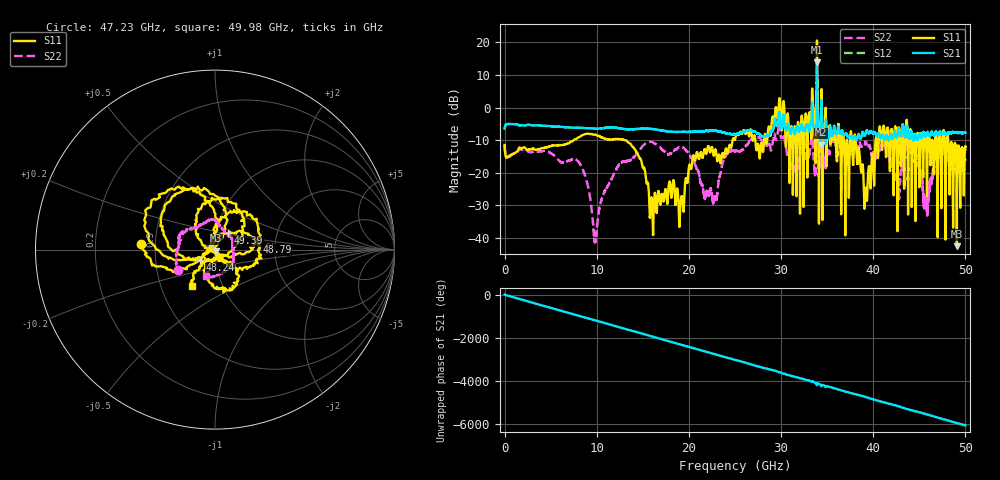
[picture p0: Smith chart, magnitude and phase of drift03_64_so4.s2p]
!Created with skrf (http://scikit-rf.org).
# Hz S RI R 50.0
!freq ReS11 ImS11 ReS21 ImS21 ReS12 ImS12 ReS22 ImS22
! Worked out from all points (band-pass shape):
!   10001 points, 300 kHz to 50 GHz, reference 50 ohm
!   highest |S21| = 13.90 dB at 33.9 GHz (marker M1); lowest = -11.4 dB at 34.32 GHz (marker M2)
!   |S21| within 3 dB of the highest: 33.89059 GHz to 33.90406 GHz (13.47 MHz wide, 0.0397 % of centre)
!   lowest |S11| = -42.5 dB at 49.08 GHz (marker M3), VSWR 1.02, Z = 50.5 - j0.564 ohm
!   |S11| at or under -10 dB: start of sweep to 7.489 GHz; 13.14 GHz to 24.74 GHz (11.6 GHz wide, 61.3 % of centre); 38.09 GHz to 40.25 GHz (2.163 GHz wide, 5.52 % of centre) (the widest 3 of 54)
!   |S22| runs from -41.5 to 6.3 dB; largest |S21 - S12| = 0.38
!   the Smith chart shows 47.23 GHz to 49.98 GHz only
!   S11 on the Smith chart (normalised r, x): 47.23 GHz: 0.42, +0.03; 48.24 GHz: 0.84, -0.10; 48.79 GHz: 1.60, +0.14; 49.39 GHz: 1.13, +0.21; 49.98 GHz: 0.72, -0.31
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300000  -0.2359 -0.1241  0.4666 0.0804  0.4647 0.0827  -0.2332 -0.1296
1.440291e9  0.21 0.0647  -0.5481 -0.0294  -0.548 -0.0289  0.2112 -0.00405
2.915283e9  -0.2121 -0.0876  0.5342 0.0515  0.5347 0.051  -0.2017 0.0402
4.415274e9  0.2058 0.1322  -0.5216 -0.0419  -0.5219 -0.0419  0.1987 -0.0874
8.33525e9  0.2886 -0.2338  0.1458 0.4661  0.1464 0.4661  -0.0725 -0.1017
9.845241e9  -0.3634 0.1289  -0.1481 -0.4526  -0.1488 -0.4521  0.00855 0.00194
1.66702e10  0.0277 0.0435  -0.3791 0.254  -0.3779 0.2537  -0.1282 -0.2195
2.500015e10  -0.3256 -0.0149  -0.2548 -0.297  -0.2544 -0.2987  -0.213 0.0295
2.895013e10  -0.3213 0.4236  -0.2923 0.325  -0.3037 0.288  0.0632 0.221
3.006512e10  0.3977 0.2669  0.4499 -0.1972  0.4525 -0.184  0.1758 -0.298
3.171011e10  -0.0917 0.1877  -0.3622 0.3575  -0.3635 0.3538  0.0664 0.1605
3.33351e10  0.6382 -0.8366  0.2467 -0.8531  0.2523 -0.8354  -0.1931 -0.426
3.38951e10  -2.617 -10.36  -4.875 0.878  -4.567 1.1  0.5574 1.999
3.432009e10  -0.7775 -0.00164  -0.18 0.2009  -0.2417 0.1801  0.141 -0.0763
4.167005e10  -0.204 0.3029  0.3142 0.000832  0.3158 0.00549  -0.1821 -0.00815
4.722502e10  -0.41 0.0325  0.2965 0.3123  0.2881 0.3073  -0.2074 -0.1145
4.824001e10  -0.0849 -0.0586  0.1099 -0.3946  0.1083 -0.3958  -0.0128 0.1679
4.879001e10  0.2321 0.0421  -0.3394 -0.2374  -0.3386 -0.2358  0.0961 0.0573
4.907501e10  0.00499 -0.00558  -0.4195 -0.0148  -0.4198 -0.0166  0.0963 0.0126
4.9385e10  0.0719 0.0917  -0.3432 0.2352  -0.3407 0.2383  0.1027 -0.0561
4.998e10  -0.127 -0.205  0.1205 0.3924  0.1203 0.392  -0.0518 -0.1471
5e10  -0.1123 -0.2242  0.1438 0.3832  0.1458 0.3833  -0.0533 -0.1443
